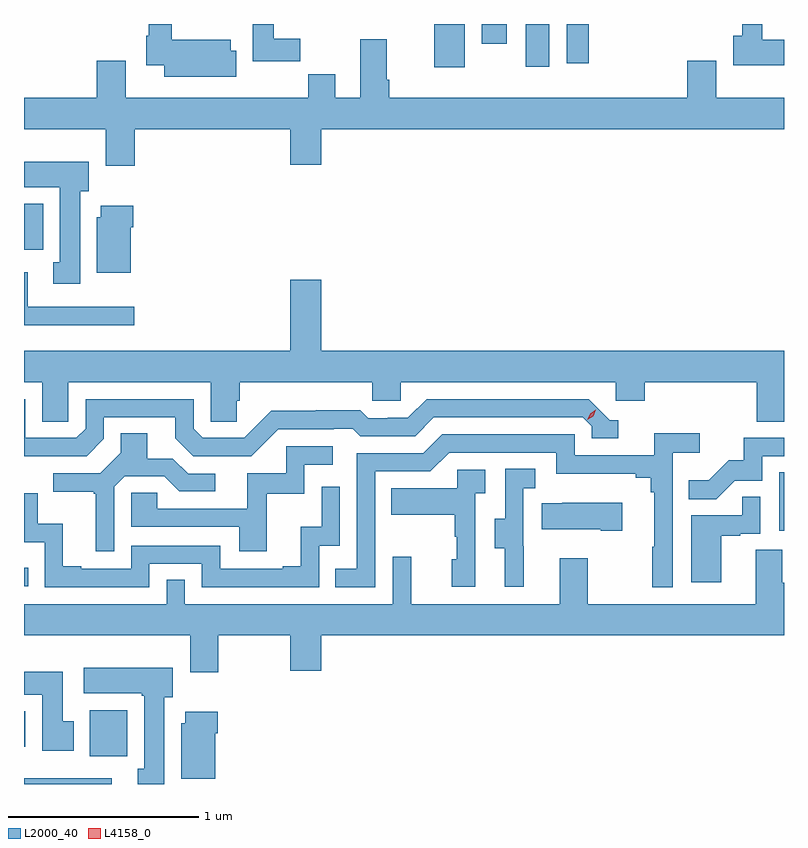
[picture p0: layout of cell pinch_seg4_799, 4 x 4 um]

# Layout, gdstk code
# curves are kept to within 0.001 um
import gdstk
lib = gdstk.Library(unit=1e-6, precision=1e-09)
def R(c, l, rs):  # rectangles x0, y0, x1, y1
    for r in rs: c.add(gdstk.rectangle(r[:2], r[2:], *l))
def P(c, l, *ps):  # polygons
    for p in ps: c.add(gdstk.Polygon(p, *l))
L2000_40 = (2000, 40)
L4158_0 = (4158, 0)

pinch_seg4_799 = lib.new_cell('pinch_seg4_799')
R(pinch_seg4_799, L2000_40, [(810.96,805.361,811.423,805.39), (811.307,805.508,811.504,805.75), (810.96,805.556,810.967,805.744), (810.96,806.403,810.983,806.5), (814.934,806.694,814.96,807.001), (810.96,808.172,811.06,808.414), (813.119,809.133,813.28,809.361), (813.602,809.136,813.724,809.361), (813.816,809.154,813.932,809.361), (813.368,809.256,813.502,809.361)])
P(pinch_seg4_799, L2000_40, [(812.414,809.284),(812.275,809.284),(812.275,809.361),(812.165,809.361),(812.165,809.166),(812.414,809.166)],
  [(812.077,809.219),(812.047,809.219),(812.047,809.278),(811.738,809.278),(811.738,809.361),(811.616,809.361),(811.616,809.298),(811.604,809.298),(811.604,809.144),(811.697,809.144),(811.697,809.084),(812.077,809.084)],
  [(814.96,809.278),(814.846,809.278),(814.846,809.361),(814.739,809.361),(814.739,809.298),(814.694,809.298),(814.694,809.144),(814.96,809.144)],
  [(811.544,808.808),(812.36,808.808),(812.36,808.62),(812.524,808.62),(812.524,808.808),(814.96,808.808),(814.96,808.972),(814.603,808.972),(814.603,809.167),(814.451,809.167),(814.451,808.972),(812.882,808.972),(812.882,809.068),(812.869,809.068),(812.869,809.281),(812.729,809.281),(812.729,808.972),(812.599,808.972),(812.599,809.096),(812.455,809.096),(812.455,808.972),(811.495,808.972),(811.495,809.167),(811.343,809.167),(811.343,808.972),(810.96,808.972),(810.96,808.808),(811.391,808.808),(811.391,808.614),(811.544,808.614)],
  [(811.255,808.482),(811.3,808.482),(811.3,808.636),(810.96,808.636),(810.96,808.502),(811.148,808.502),(811.148,808.106),(811.115,808.106),(811.115,807.993),(811.255,807.993)],
  [(811.522,808.292),(811.535,808.292),(811.535,808.405),(811.364,808.405),(811.364,808.344),(811.343,808.344),(811.343,808.052),(811.522,808.052)],
  [(811.54,807.873),(810.979,807.873),(810.979,808.054),(810.96,808.054),(810.96,807.776),(811.54,807.776)],
  [(812.524,808.015),(812.36,808.015),(812.36,807.64),(810.96,807.64),(810.96,807.476),(811.055,807.476),(811.055,807.268),(811.194,807.268),(811.194,807.476),(811.944,807.476),(811.944,807.268),(812.081,807.268),(812.081,807.378),(812.096,807.378),(812.096,807.476),(812.793,807.476),(812.793,807.378),(812.943,807.378),(812.943,807.476),(814.074,807.476),(814.074,807.378),(814.226,807.378),(814.226,807.476),(814.817,807.476),(814.817,807.268),(814.96,807.268),(814.96,807.64),(812.524,807.64)],
  [(811.074,807.087),(811.29,807.087),(811.38,807.177),(811.38,807.291),(811.757,807.291),(811.757,807.181),(811.851,807.087),(812.157,807.087),(812.298,807.228),(812.591,807.228),(812.591,807.231),(812.69,807.231),(812.729,807.192),(813.018,807.192),(813.117,807.291),(813.9,807.291),(813.948,807.243),(813.948,807.18),(814.087,807.18),(814.087,807.276),(814.044,807.276),(813.933,807.387),(813.08,807.387),(812.981,807.288),(812.874,807.288),(812.874,807.285),(812.771,807.285),(812.729,807.328),(812.496,807.328),(812.496,807.325),(812.26,807.325),(812.118,807.183),(811.902,807.183),(811.854,807.231),(811.854,807.387),(811.284,807.387),(811.284,807.231),(811.236,807.183),(810.966,807.183),(810.966,807.387),(810.96,807.387),(810.96,807.086)],
  [(812.808,807.006),(813.099,807.006),(813.198,807.105),(813.762,807.105),(813.762,806.993),(814.181,806.993),(814.181,806.974),(814.258,806.974),(814.258,806.897),(814.277,806.897),(814.277,806.609),(814.266,806.609),(814.266,806.397),(814.374,806.397),(814.374,807.104),(814.516,807.104),(814.516,807.206),(814.277,807.206),(814.277,807.09),(813.858,807.09),(813.858,807.201),(813.161,807.201),(813.062,807.102),(812.712,807.102),(812.712,806.493),(812.599,806.493),(812.599,806.397),(812.808,806.397)],
  [(811.434,806.925),(811.491,806.982),(811.697,806.982),(811.778,806.901),(811.966,806.901),(811.966,806.994),(811.824,806.994),(811.744,807.074),(811.609,807.074),(811.609,807.206),(811.469,807.206),(811.469,807.104),(811.362,806.997),(811.113,806.997),(811.113,806.9),(811.326,806.9),(811.326,806.889),(811.337,806.889),(811.337,806.586),(811.434,806.586)],
  [(814.701,806.958),(814.845,806.958),(814.845,807.087),(814.96,807.087),(814.96,807.183),(814.747,807.183),(814.747,807.066),(814.67,807.066),(814.563,806.959),(814.459,806.959),(814.459,806.86),(814.603,806.86)],
  [(812.237,806.889),(812.436,806.889),(812.436,807.042),(812.584,807.042),(812.584,807.138),(812.34,807.138),(812.34,806.997),(812.135,806.997),(812.135,806.811),(811.661,806.811),(811.661,806.895),(811.524,806.895),(811.524,806.715),(812.093,806.715),(812.093,806.586),(812.237,806.586)],
  [(813.59,806.613),(813.588,806.613),(813.588,806.917),(813.652,806.917),(813.652,807.02),(813.492,807.02),(813.492,806.757),(813.437,806.757),(813.437,806.602),(813.491,806.602),(813.491,806.4),(813.59,806.4)],
  [(813.336,806.891),(813.388,806.891),(813.388,807.015),(813.24,807.015),(813.24,806.917),(812.893,806.917),(812.893,806.777),(813.228,806.777),(813.228,806.663),(813.238,806.663),(813.238,806.544),(813.212,806.544),(813.212,806.4),(813.336,806.4)],
  [(811.62,806.52),(811.896,806.52),(811.896,806.397),(812.514,806.397),(812.514,806.616),(812.622,806.616),(812.622,806.926),(812.526,806.926),(812.526,806.714),(812.417,806.714),(812.417,806.506),(812.321,806.506),(812.321,806.493),(811.992,806.493),(811.992,806.616),(811.524,806.616),(811.524,806.493),(811.261,806.493),(811.261,806.506),(811.165,806.506),(811.165,806.731),(811.032,806.731),(811.032,806.892),(810.96,806.892),(810.96,806.633),(811.068,806.633),(811.068,806.397),(811.62,806.397)],
  [(814.63,806.667),(814.73,806.667),(814.73,806.679),(814.836,806.679),(814.836,806.873),(814.741,806.873),(814.741,806.775),(814.472,806.775),(814.472,806.424),(814.63,806.424)],
  [(814.108,806.842),(813.793,806.842),(813.793,806.839),(813.685,806.839),(813.685,806.702),(813.995,806.702),(813.995,806.695),(814.108,806.695)],
  [(811.983,806.144),(812.36,806.144),(812.36,805.956),(812.524,805.956),(812.524,806.144),(814.96,806.144),(814.96,806.42),(814.951,806.42),(814.951,806.594),(814.811,806.594),(814.811,806.308),(813.927,806.308),(813.927,806.548),(813.779,806.548),(813.779,806.308),(812.999,806.308),(812.999,806.557),(812.901,806.557),(812.901,806.308),(811.806,806.308),(811.806,806.435),(811.71,806.435),(811.71,806.308),(810.96,806.308),(810.96,806.144),(811.835,806.144),(811.835,805.95),(811.983,805.95)],
  [(811.699,805.818),(811.744,805.818),(811.744,805.972),(811.275,805.972),(811.275,805.838),(811.579,805.838),(811.579,805.825),(811.592,805.825),(811.592,805.442),(811.559,805.442),(811.559,805.361),(811.699,805.361)],
  [(811.222,805.692),(811.165,805.692),(811.165,805.951),(810.96,805.951),(810.96,805.832),(811.055,805.832),(811.055,805.536),(811.222,805.536)],
  [(811.966,805.628),(811.979,805.628),(811.979,805.741),(811.808,805.741),(811.808,805.68),(811.787,805.68),(811.787,805.388),(811.966,805.388)])
P(pinch_seg4_799, L4158_0, [(813.924,807.277),(813.924,807.277),(813.94,807.31),(813.97,807.33),(813.97,807.33),(813.97,807.33),(813.955,807.297),(813.924,807.277)])

lib.write_gds('pinch_seg4_799.gds')
